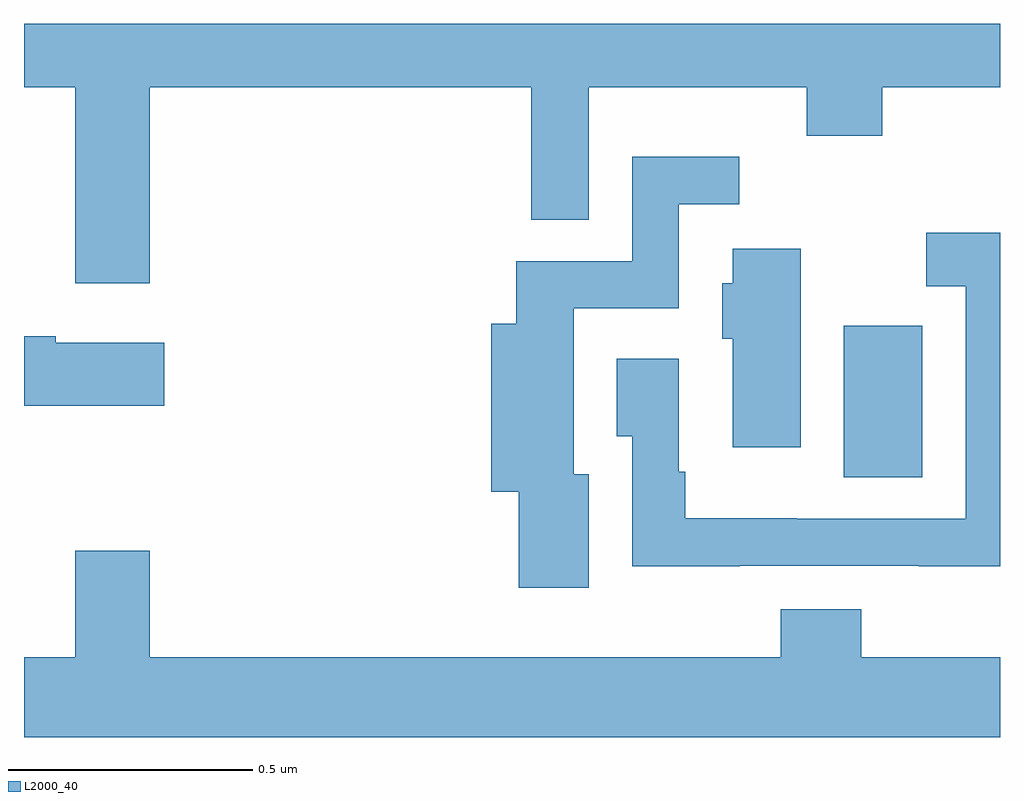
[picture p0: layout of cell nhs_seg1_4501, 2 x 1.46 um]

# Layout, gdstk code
import gdstk
lib = gdstk.Library(unit=1e-6, precision=1e-09)
def R(c, l, rs):  # rectangles x0, y0, x1, y1
    for r in rs: c.add(gdstk.rectangle(r[:2], r[2:], *l))
def P(c, l, *ps):  # polygons
    for p in ps: c.add(gdstk.Polygon(p, *l))
L2000_40 = (2000, 40)

nhs_seg1_4501 = lib.new_cell('nhs_seg1_4501')
R(nhs_seg1_4501, L2000_40, [(168.68,548.269,168.841,548.58)])
P(nhs_seg1_4501, L2000_40, [(167.258,549.068),(168.039,549.068),(168.039,548.797),(168.157,548.797),(168.157,549.068),(168.604,549.068),(168.604,548.969),(168.759,548.969),(168.759,549.068),(169,549.068),(169,549.199),(167,549.199),(167,549.068),(167.105,549.068),(167.105,548.667),(167.258,548.667)],
  [(168.157,548.275),(168.127,548.275),(168.127,548.616),(168.342,548.616),(168.342,548.829),(168.466,548.829),(168.466,548.926),(168.246,548.926),(168.246,548.712),(168.009,548.712),(168.009,548.584),(167.957,548.584),(167.957,548.24),(168.014,548.24),(168.014,548.043),(168.157,548.043)],
  [(168.467,548.088),(168.833,548.088),(168.833,548.087),(169,548.087),(169,548.77),(168.849,548.77),(168.849,548.661),(168.93,548.661),(168.93,548.184),(168.584,548.184),(168.584,548.185),(168.355,548.185),(168.355,548.281),(168.342,548.281),(168.342,548.512),(168.215,548.512),(168.215,548.353),(168.246,548.353),(168.246,548.087),(168.467,548.087)],
  [(168.592,548.737),(168.452,548.737),(168.452,548.667),(168.431,548.667),(168.431,548.553),(168.452,548.553),(168.452,548.331),(168.592,548.331)],
  [(167.287,548.545),(167.065,548.545),(167.065,548.558),(167,548.558),(167,548.416),(167.287,548.416)],
  [(169,547.9),(168.716,547.9),(168.716,547.999),(168.551,547.999),(168.551,547.9),(167.258,547.9),(167.258,548.119),(167.105,548.119),(167.105,547.9),(167,547.9),(167,547.736),(169,547.736)])

lib.write_gds('nhs_seg1_4501.gds')
